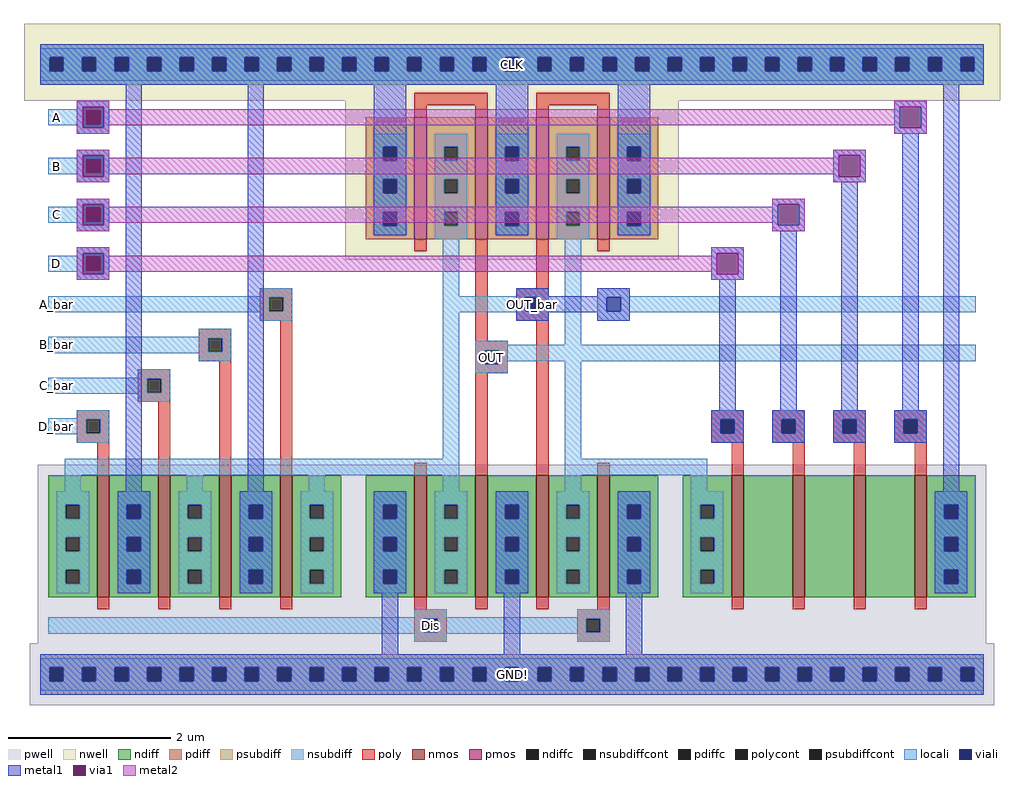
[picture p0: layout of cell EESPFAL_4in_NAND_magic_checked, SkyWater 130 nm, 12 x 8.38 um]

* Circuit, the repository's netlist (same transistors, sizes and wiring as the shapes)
* NGSPICE file created from EESPFAL_4in_NAND_magic_checked.ext - technology: sky130A

.subckt EESPFAL_4in_NAND_magic_checked OUT A A_bar B B_bar C C_bar D D_bar Dis OUT_bar
+ GND CLK
X0 OUT_bar Dis GND GND sky130_fd_pr__nfet_01v8 ad=3.6e+12p pd=1.68e+07u as=2.7e+12p ps=1.26e+07u w=1.5e+06u l=150000u
X1 CLK B_bar OUT_bar GND sky130_fd_pr__nfet_01v8 ad=8.5e+12p pd=3.68e+07u as=0p ps=0u w=1.5e+06u l=150000u
X2 a_n1040_180# B a_n1190_180# GND sky130_fd_pr__nfet_01v8 ad=9e+11p pd=4.2e+06u as=9e+11p ps=4.2e+06u w=1.5e+06u l=150000u
X3 OUT_bar OUT CLK CLK sky130_fd_pr__pfet_01v8 ad=9e+11p pd=4.2e+06u as=2.7e+12p ps=1.26e+07u w=1.5e+06u l=150000u M=2
X4 CLK D_bar OUT_bar GND sky130_fd_pr__nfet_01v8 ad=0p pd=0u as=0p ps=0u w=1.5e+06u l=150000u
X5 OUT OUT_bar GND GND sky130_fd_pr__nfet_01v8 ad=1.8e+12p pd=8.4e+06u as=0p ps=0u w=1.5e+06u l=150000u
X6 a_n1340_180# D OUT GND sky130_fd_pr__nfet_01v8 ad=9e+11p pd=4.2e+06u as=0p ps=0u w=1.5e+06u l=150000u
X7 OUT_bar A_bar CLK GND sky130_fd_pr__nfet_01v8 ad=0p pd=0u as=0p ps=0u w=1.5e+06u l=150000u
X8 OUT_bar C_bar CLK GND sky130_fd_pr__nfet_01v8 ad=0p pd=0u as=0p ps=0u w=1.5e+06u l=150000u
X9 GND Dis OUT GND sky130_fd_pr__nfet_01v8 ad=0p pd=0u as=0p ps=0u w=1.5e+06u l=150000u
X10 OUT OUT_bar CLK CLK sky130_fd_pr__pfet_01v8 ad=9e+11p pd=4.2e+06u as=0p ps=0u w=1.5e+06u l=150000u M=2
X11 GND OUT OUT_bar GND sky130_fd_pr__nfet_01v8 ad=0p pd=0u as=0p ps=0u w=1.5e+06u l=150000u
X12 CLK A a_n1040_180# GND sky130_fd_pr__nfet_01v8 ad=0p pd=0u as=0p ps=0u w=1.5e+06u l=150000u
X13 a_n1190_180# C a_n1340_180# GND sky130_fd_pr__nfet_01v8 ad=0p pd=0u as=0p ps=0u w=1.5e+06u l=150000u
.ends

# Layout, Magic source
magic
tech sky130A
magscale 1 2
<< nwell >>
rect -3110 1400 -710 1590
rect -2320 1010 -1500 1400
<< pwell >>
rect -3076 66 -744 506
rect -3096 -86 -724 66
<< nmos >>
rect -2930 180 -2900 480
rect -2780 180 -2750 480
rect -2630 180 -2600 480
rect -2480 180 -2450 480
rect -2150 180 -2120 480
rect -2000 180 -1970 480
rect -1850 180 -1820 480
rect -1700 180 -1670 480
rect -1370 180 -1340 480
rect -1220 180 -1190 480
rect -1070 180 -1040 480
rect -920 180 -890 480
<< pmos >>
rect -2150 1060 -2120 1360
rect -2000 1060 -1970 1360
rect -1850 1060 -1820 1360
rect -1700 1060 -1670 1360
<< ndiff >>
rect -3050 407 -2930 480
rect -3050 373 -3007 407
rect -2973 373 -2930 407
rect -3050 327 -2930 373
rect -3050 293 -3007 327
rect -2973 293 -2930 327
rect -3050 247 -2930 293
rect -3050 213 -3007 247
rect -2973 213 -2930 247
rect -3050 180 -2930 213
rect -2900 407 -2780 480
rect -2900 373 -2857 407
rect -2823 373 -2780 407
rect -2900 327 -2780 373
rect -2900 293 -2857 327
rect -2823 293 -2780 327
rect -2900 247 -2780 293
rect -2900 213 -2857 247
rect -2823 213 -2780 247
rect -2900 180 -2780 213
rect -2750 407 -2630 480
rect -2750 373 -2707 407
rect -2673 373 -2630 407
rect -2750 327 -2630 373
rect -2750 293 -2707 327
rect -2673 293 -2630 327
rect -2750 247 -2630 293
rect -2750 213 -2707 247
rect -2673 213 -2630 247
rect -2750 180 -2630 213
rect -2600 407 -2480 480
rect -2600 373 -2557 407
rect -2523 373 -2480 407
rect -2600 327 -2480 373
rect -2600 293 -2557 327
rect -2523 293 -2480 327
rect -2600 247 -2480 293
rect -2600 213 -2557 247
rect -2523 213 -2480 247
rect -2600 180 -2480 213
rect -2450 407 -2330 480
rect -2450 373 -2407 407
rect -2373 373 -2330 407
rect -2450 327 -2330 373
rect -2450 293 -2407 327
rect -2373 293 -2330 327
rect -2450 247 -2330 293
rect -2450 213 -2407 247
rect -2373 213 -2330 247
rect -2450 180 -2330 213
rect -2270 407 -2150 480
rect -2270 373 -2227 407
rect -2193 373 -2150 407
rect -2270 327 -2150 373
rect -2270 293 -2227 327
rect -2193 293 -2150 327
rect -2270 247 -2150 293
rect -2270 213 -2227 247
rect -2193 213 -2150 247
rect -2270 180 -2150 213
rect -2120 407 -2000 480
rect -2120 373 -2077 407
rect -2043 373 -2000 407
rect -2120 327 -2000 373
rect -2120 293 -2077 327
rect -2043 293 -2000 327
rect -2120 247 -2000 293
rect -2120 213 -2077 247
rect -2043 213 -2000 247
rect -2120 180 -2000 213
rect -1970 407 -1850 480
rect -1970 373 -1927 407
rect -1893 373 -1850 407
rect -1970 327 -1850 373
rect -1970 293 -1927 327
rect -1893 293 -1850 327
rect -1970 247 -1850 293
rect -1970 213 -1927 247
rect -1893 213 -1850 247
rect -1970 180 -1850 213
rect -1820 407 -1700 480
rect -1820 373 -1777 407
rect -1743 373 -1700 407
rect -1820 327 -1700 373
rect -1820 293 -1777 327
rect -1743 293 -1700 327
rect -1820 247 -1700 293
rect -1820 213 -1777 247
rect -1743 213 -1700 247
rect -1820 180 -1700 213
rect -1670 407 -1550 480
rect -1670 373 -1627 407
rect -1593 373 -1550 407
rect -1670 327 -1550 373
rect -1670 293 -1627 327
rect -1593 293 -1550 327
rect -1670 247 -1550 293
rect -1670 213 -1627 247
rect -1593 213 -1550 247
rect -1670 180 -1550 213
rect -1490 407 -1370 480
rect -1490 373 -1447 407
rect -1413 373 -1370 407
rect -1490 327 -1370 373
rect -1490 293 -1447 327
rect -1413 293 -1370 327
rect -1490 247 -1370 293
rect -1490 213 -1447 247
rect -1413 213 -1370 247
rect -1490 180 -1370 213
rect -1340 180 -1220 480
rect -1190 180 -1070 480
rect -1040 180 -920 480
rect -890 407 -770 480
rect -890 373 -847 407
rect -813 373 -770 407
rect -890 327 -770 373
rect -890 293 -847 327
rect -813 293 -770 327
rect -890 247 -770 293
rect -890 213 -847 247
rect -813 213 -770 247
rect -890 180 -770 213
<< pdiff >>
rect -2270 1287 -2150 1360
rect -2270 1253 -2227 1287
rect -2193 1253 -2150 1287
rect -2270 1207 -2150 1253
rect -2270 1173 -2227 1207
rect -2193 1173 -2150 1207
rect -2270 1127 -2150 1173
rect -2270 1093 -2227 1127
rect -2193 1093 -2150 1127
rect -2270 1060 -2150 1093
rect -2120 1287 -2000 1360
rect -2120 1253 -2077 1287
rect -2043 1253 -2000 1287
rect -2120 1207 -2000 1253
rect -2120 1173 -2077 1207
rect -2043 1173 -2000 1207
rect -2120 1127 -2000 1173
rect -2120 1093 -2077 1127
rect -2043 1093 -2000 1127
rect -2120 1060 -2000 1093
rect -1970 1287 -1850 1360
rect -1970 1253 -1927 1287
rect -1893 1253 -1850 1287
rect -1970 1207 -1850 1253
rect -1970 1173 -1927 1207
rect -1893 1173 -1850 1207
rect -1970 1127 -1850 1173
rect -1970 1093 -1927 1127
rect -1893 1093 -1850 1127
rect -1970 1060 -1850 1093
rect -1820 1287 -1700 1360
rect -1820 1253 -1777 1287
rect -1743 1253 -1700 1287
rect -1820 1207 -1700 1253
rect -1820 1173 -1777 1207
rect -1743 1173 -1700 1207
rect -1820 1127 -1700 1173
rect -1820 1093 -1777 1127
rect -1743 1093 -1700 1127
rect -1820 1060 -1700 1093
rect -1670 1287 -1550 1360
rect -1670 1253 -1627 1287
rect -1593 1253 -1550 1287
rect -1670 1207 -1550 1253
rect -1670 1173 -1627 1207
rect -1593 1173 -1550 1207
rect -1670 1127 -1550 1173
rect -1670 1093 -1627 1127
rect -1593 1093 -1550 1127
rect -1670 1060 -1550 1093
<< ndiffc >>
rect -3007 373 -2973 407
rect -3007 293 -2973 327
rect -3007 213 -2973 247
rect -2857 373 -2823 407
rect -2857 293 -2823 327
rect -2857 213 -2823 247
rect -2707 373 -2673 407
rect -2707 293 -2673 327
rect -2707 213 -2673 247
rect -2557 373 -2523 407
rect -2557 293 -2523 327
rect -2557 213 -2523 247
rect -2407 373 -2373 407
rect -2407 293 -2373 327
rect -2407 213 -2373 247
rect -2227 373 -2193 407
rect -2227 293 -2193 327
rect -2227 213 -2193 247
rect -2077 373 -2043 407
rect -2077 293 -2043 327
rect -2077 213 -2043 247
rect -1927 373 -1893 407
rect -1927 293 -1893 327
rect -1927 213 -1893 247
rect -1777 373 -1743 407
rect -1777 293 -1743 327
rect -1777 213 -1743 247
rect -1627 373 -1593 407
rect -1627 293 -1593 327
rect -1627 213 -1593 247
rect -1447 373 -1413 407
rect -1447 293 -1413 327
rect -1447 213 -1413 247
rect -847 373 -813 407
rect -847 293 -813 327
rect -847 213 -813 247
<< pdiffc >>
rect -2227 1253 -2193 1287
rect -2227 1173 -2193 1207
rect -2227 1093 -2193 1127
rect -2077 1253 -2043 1287
rect -2077 1173 -2043 1207
rect -2077 1093 -2043 1127
rect -1927 1253 -1893 1287
rect -1927 1173 -1893 1207
rect -1927 1093 -1893 1127
rect -1777 1253 -1743 1287
rect -1777 1173 -1743 1207
rect -1777 1093 -1743 1127
rect -1627 1253 -1593 1287
rect -1627 1173 -1593 1207
rect -1627 1093 -1593 1127
<< psubdiff >>
rect -3070 7 -750 40
rect -3070 -27 -3047 7
rect -3013 -27 -2967 7
rect -2933 -27 -2887 7
rect -2853 -27 -2807 7
rect -2773 -27 -2727 7
rect -2693 -27 -2647 7
rect -2613 -27 -2567 7
rect -2533 -27 -2487 7
rect -2453 -27 -2407 7
rect -2373 -27 -2327 7
rect -2293 -27 -2247 7
rect -2213 -27 -2167 7
rect -2133 -27 -2087 7
rect -2053 -27 -2007 7
rect -1973 -27 -1927 7
rect -1893 -27 -1847 7
rect -1813 -27 -1767 7
rect -1733 -27 -1687 7
rect -1653 -27 -1607 7
rect -1573 -27 -1527 7
rect -1493 -27 -1447 7
rect -1413 -27 -1367 7
rect -1333 -27 -1287 7
rect -1253 -27 -1207 7
rect -1173 -27 -1127 7
rect -1093 -27 -1047 7
rect -1013 -27 -967 7
rect -933 -27 -887 7
rect -853 -27 -807 7
rect -773 -27 -750 7
rect -3070 -60 -750 -27
<< nsubdiff >>
rect -3070 1507 -750 1540
rect -3070 1473 -3047 1507
rect -3013 1473 -2967 1507
rect -2933 1473 -2887 1507
rect -2853 1473 -2807 1507
rect -2773 1473 -2727 1507
rect -2693 1473 -2647 1507
rect -2613 1473 -2567 1507
rect -2533 1473 -2487 1507
rect -2453 1473 -2407 1507
rect -2373 1473 -2327 1507
rect -2293 1473 -2247 1507
rect -2213 1473 -2167 1507
rect -2133 1473 -2087 1507
rect -2053 1473 -2007 1507
rect -1973 1473 -1927 1507
rect -1893 1473 -1847 1507
rect -1813 1473 -1767 1507
rect -1733 1473 -1687 1507
rect -1653 1473 -1607 1507
rect -1573 1473 -1527 1507
rect -1493 1473 -1447 1507
rect -1413 1473 -1367 1507
rect -1333 1473 -1287 1507
rect -1253 1473 -1207 1507
rect -1173 1473 -1127 1507
rect -1093 1473 -1047 1507
rect -1013 1473 -967 1507
rect -933 1473 -887 1507
rect -853 1473 -807 1507
rect -773 1473 -750 1507
rect -3070 1440 -750 1473
<< psubdiffcont >>
rect -3047 -27 -3013 7
rect -2967 -27 -2933 7
rect -2887 -27 -2853 7
rect -2807 -27 -2773 7
rect -2727 -27 -2693 7
rect -2647 -27 -2613 7
rect -2567 -27 -2533 7
rect -2487 -27 -2453 7
rect -2407 -27 -2373 7
rect -2327 -27 -2293 7
rect -2247 -27 -2213 7
rect -2167 -27 -2133 7
rect -2087 -27 -2053 7
rect -2007 -27 -1973 7
rect -1927 -27 -1893 7
rect -1847 -27 -1813 7
rect -1767 -27 -1733 7
rect -1687 -27 -1653 7
rect -1607 -27 -1573 7
rect -1527 -27 -1493 7
rect -1447 -27 -1413 7
rect -1367 -27 -1333 7
rect -1287 -27 -1253 7
rect -1207 -27 -1173 7
rect -1127 -27 -1093 7
rect -1047 -27 -1013 7
rect -967 -27 -933 7
rect -887 -27 -853 7
rect -807 -27 -773 7
<< nsubdiffcont >>
rect -3047 1473 -3013 1507
rect -2967 1473 -2933 1507
rect -2887 1473 -2853 1507
rect -2807 1473 -2773 1507
rect -2727 1473 -2693 1507
rect -2647 1473 -2613 1507
rect -2567 1473 -2533 1507
rect -2487 1473 -2453 1507
rect -2407 1473 -2373 1507
rect -2327 1473 -2293 1507
rect -2247 1473 -2213 1507
rect -2167 1473 -2133 1507
rect -2087 1473 -2053 1507
rect -2007 1473 -1973 1507
rect -1927 1473 -1893 1507
rect -1847 1473 -1813 1507
rect -1767 1473 -1733 1507
rect -1687 1473 -1653 1507
rect -1607 1473 -1573 1507
rect -1527 1473 -1493 1507
rect -1447 1473 -1413 1507
rect -1367 1473 -1333 1507
rect -1287 1473 -1253 1507
rect -1207 1473 -1173 1507
rect -1127 1473 -1093 1507
rect -1047 1473 -1013 1507
rect -967 1473 -933 1507
rect -887 1473 -853 1507
rect -807 1473 -773 1507
<< poly >>
rect -2150 1390 -1970 1420
rect -2150 1360 -2120 1390
rect -2000 1360 -1970 1390
rect -1850 1390 -1670 1420
rect -1850 1360 -1820 1390
rect -1700 1360 -1670 1390
rect -2150 1030 -2120 1060
rect -2530 917 -2450 940
rect -2530 883 -2507 917
rect -2473 883 -2450 917
rect -2530 860 -2450 883
rect -2680 817 -2600 840
rect -2680 783 -2657 817
rect -2623 783 -2600 817
rect -2680 760 -2600 783
rect -2830 717 -2750 740
rect -2830 683 -2807 717
rect -2773 683 -2750 717
rect -2830 660 -2750 683
rect -2980 617 -2900 640
rect -2980 583 -2957 617
rect -2923 583 -2900 617
rect -2980 560 -2900 583
rect -2930 480 -2900 560
rect -2780 480 -2750 660
rect -2630 480 -2600 760
rect -2480 480 -2450 860
rect -2000 810 -1970 1060
rect -1850 940 -1820 1060
rect -1700 1030 -1670 1060
rect -1900 917 -1820 940
rect -1900 883 -1877 917
rect -1843 883 -1820 917
rect -1900 860 -1820 883
rect -2000 787 -1920 810
rect -2000 753 -1977 787
rect -1943 753 -1920 787
rect -2000 730 -1920 753
rect -2150 480 -2120 510
rect -2000 480 -1970 730
rect -1850 480 -1820 860
rect -1420 617 -1340 640
rect -1420 583 -1397 617
rect -1363 583 -1340 617
rect -1420 560 -1340 583
rect -1270 617 -1190 640
rect -1270 583 -1247 617
rect -1213 583 -1190 617
rect -1270 560 -1190 583
rect -1120 617 -1040 640
rect -1120 583 -1097 617
rect -1063 583 -1040 617
rect -1120 560 -1040 583
rect -970 617 -890 640
rect -970 583 -947 617
rect -913 583 -890 617
rect -970 560 -890 583
rect -1700 480 -1670 510
rect -1370 480 -1340 560
rect -1220 480 -1190 560
rect -1070 480 -1040 560
rect -920 480 -890 560
rect -2930 150 -2900 180
rect -2780 150 -2750 180
rect -2630 150 -2600 180
rect -2480 150 -2450 180
rect -2150 150 -2120 180
rect -2000 150 -1970 180
rect -1850 150 -1820 180
rect -1700 150 -1670 180
rect -1370 150 -1340 180
rect -1220 150 -1190 180
rect -1070 150 -1040 180
rect -920 150 -890 180
rect -2150 127 -2070 150
rect -2150 93 -2127 127
rect -2093 93 -2070 127
rect -2150 70 -2070 93
rect -1750 127 -1670 150
rect -1750 93 -1727 127
rect -1693 93 -1670 127
rect -1750 70 -1670 93
<< polycont >>
rect -2507 883 -2473 917
rect -2657 783 -2623 817
rect -2807 683 -2773 717
rect -2957 583 -2923 617
rect -1877 883 -1843 917
rect -1977 753 -1943 787
rect -1397 583 -1363 617
rect -1247 583 -1213 617
rect -1097 583 -1063 617
rect -947 583 -913 617
rect -2127 93 -2093 127
rect -1727 93 -1693 127
<< locali >>
rect -3070 1507 -750 1530
rect -3070 1473 -3047 1507
rect -3013 1473 -2967 1507
rect -2933 1473 -2887 1507
rect -2853 1473 -2807 1507
rect -2773 1473 -2727 1507
rect -2693 1473 -2647 1507
rect -2613 1473 -2567 1507
rect -2533 1473 -2487 1507
rect -2453 1473 -2407 1507
rect -2373 1473 -2327 1507
rect -2293 1473 -2247 1507
rect -2213 1473 -2167 1507
rect -2133 1473 -2087 1507
rect -2053 1473 -2007 1507
rect -1973 1473 -1927 1507
rect -1893 1473 -1847 1507
rect -1813 1473 -1767 1507
rect -1733 1473 -1687 1507
rect -1653 1473 -1607 1507
rect -1573 1473 -1527 1507
rect -1493 1473 -1447 1507
rect -1413 1473 -1367 1507
rect -1333 1473 -1287 1507
rect -1253 1473 -1207 1507
rect -1173 1473 -1127 1507
rect -1093 1473 -1047 1507
rect -1013 1473 -967 1507
rect -933 1473 -887 1507
rect -853 1473 -807 1507
rect -773 1473 -750 1507
rect -3070 1450 -750 1473
rect -2980 1380 -2900 1400
rect -3050 1377 -2900 1380
rect -3050 1343 -2957 1377
rect -2923 1343 -2900 1377
rect -3050 1340 -2900 1343
rect -2980 1320 -2900 1340
rect -2250 1287 -2170 1320
rect -2980 1260 -2900 1280
rect -3050 1257 -2900 1260
rect -3050 1223 -2957 1257
rect -2923 1223 -2900 1257
rect -3050 1220 -2900 1223
rect -2980 1200 -2900 1220
rect -2250 1253 -2227 1287
rect -2193 1253 -2170 1287
rect -2250 1207 -2170 1253
rect -2250 1173 -2227 1207
rect -2193 1173 -2170 1207
rect -2980 1140 -2900 1160
rect -3050 1137 -2900 1140
rect -3050 1103 -2957 1137
rect -2923 1103 -2900 1137
rect -3050 1100 -2900 1103
rect -2980 1080 -2900 1100
rect -2250 1127 -2170 1173
rect -2250 1093 -2227 1127
rect -2193 1093 -2170 1127
rect -2250 1070 -2170 1093
rect -2100 1287 -2020 1320
rect -2100 1253 -2077 1287
rect -2043 1253 -2020 1287
rect -2100 1207 -2020 1253
rect -2100 1173 -2077 1207
rect -2043 1173 -2020 1207
rect -2100 1127 -2020 1173
rect -2100 1093 -2077 1127
rect -2043 1093 -2020 1127
rect -2100 1060 -2020 1093
rect -1950 1287 -1870 1320
rect -1950 1253 -1927 1287
rect -1893 1253 -1870 1287
rect -1950 1207 -1870 1253
rect -1950 1173 -1927 1207
rect -1893 1173 -1870 1207
rect -1950 1127 -1870 1173
rect -1950 1093 -1927 1127
rect -1893 1093 -1870 1127
rect -1950 1070 -1870 1093
rect -1800 1287 -1720 1320
rect -1800 1253 -1777 1287
rect -1743 1253 -1720 1287
rect -1800 1207 -1720 1253
rect -1800 1173 -1777 1207
rect -1743 1173 -1720 1207
rect -1800 1127 -1720 1173
rect -1800 1093 -1777 1127
rect -1743 1093 -1720 1127
rect -1800 1060 -1720 1093
rect -1650 1287 -1570 1320
rect -1650 1253 -1627 1287
rect -1593 1253 -1570 1287
rect -1650 1207 -1570 1253
rect -1650 1173 -1627 1207
rect -1593 1173 -1570 1207
rect -1650 1127 -1570 1173
rect -1650 1093 -1627 1127
rect -1593 1093 -1570 1127
rect -1650 1070 -1570 1093
rect -2980 1020 -2900 1040
rect -3050 1017 -2900 1020
rect -3050 983 -2957 1017
rect -2923 983 -2900 1017
rect -3050 980 -2900 983
rect -2980 960 -2900 980
rect -2530 920 -2450 940
rect -3050 917 -2450 920
rect -3050 883 -2507 917
rect -2473 883 -2450 917
rect -3050 880 -2450 883
rect -2530 860 -2450 880
rect -2080 920 -2040 1060
rect -1900 920 -1820 940
rect -2080 917 -1820 920
rect -2080 883 -1877 917
rect -1843 883 -1820 917
rect -2080 880 -1820 883
rect -2680 820 -2600 840
rect -3050 817 -2600 820
rect -3050 783 -2657 817
rect -2623 783 -2600 817
rect -3050 780 -2600 783
rect -2680 760 -2600 780
rect -2830 720 -2750 740
rect -3050 717 -2750 720
rect -3050 683 -2807 717
rect -2773 683 -2750 717
rect -3050 680 -2750 683
rect -2830 660 -2750 680
rect -2980 620 -2900 640
rect -3050 617 -2900 620
rect -3050 583 -2957 617
rect -2923 583 -2900 617
rect -3050 580 -2900 583
rect -2980 560 -2900 580
rect -2080 520 -2040 880
rect -1900 860 -1820 880
rect -2000 800 -1920 810
rect -1780 800 -1740 1060
rect -1700 920 -1620 940
rect -1700 917 -770 920
rect -1700 883 -1677 917
rect -1643 883 -770 917
rect -1700 880 -770 883
rect -1700 860 -1620 880
rect -2000 787 -770 800
rect -2000 753 -1977 787
rect -1943 760 -770 787
rect -1943 753 -1920 760
rect -2000 730 -1920 753
rect -3010 480 -2040 520
rect -3010 440 -2970 480
rect -2710 440 -2670 480
rect -2410 440 -2370 480
rect -2080 440 -2040 480
rect -1780 520 -1740 760
rect -1420 617 -1340 640
rect -1420 583 -1397 617
rect -1363 583 -1340 617
rect -1420 560 -1340 583
rect -1270 617 -1190 640
rect -1270 583 -1247 617
rect -1213 583 -1190 617
rect -1270 560 -1190 583
rect -1120 617 -1040 640
rect -1120 583 -1097 617
rect -1063 583 -1040 617
rect -1120 560 -1040 583
rect -970 617 -890 640
rect -970 583 -947 617
rect -913 583 -890 617
rect -970 560 -890 583
rect -1780 480 -1430 520
rect -1780 440 -1740 480
rect -1470 440 -1430 480
rect -3030 407 -2950 440
rect -3030 373 -3007 407
rect -2973 373 -2950 407
rect -3030 327 -2950 373
rect -3030 293 -3007 327
rect -2973 293 -2950 327
rect -3030 247 -2950 293
rect -3030 213 -3007 247
rect -2973 213 -2950 247
rect -3030 190 -2950 213
rect -2880 407 -2800 440
rect -2880 373 -2857 407
rect -2823 373 -2800 407
rect -2880 327 -2800 373
rect -2880 293 -2857 327
rect -2823 293 -2800 327
rect -2880 247 -2800 293
rect -2880 213 -2857 247
rect -2823 213 -2800 247
rect -2880 190 -2800 213
rect -2730 407 -2650 440
rect -2730 373 -2707 407
rect -2673 373 -2650 407
rect -2730 327 -2650 373
rect -2730 293 -2707 327
rect -2673 293 -2650 327
rect -2730 247 -2650 293
rect -2730 213 -2707 247
rect -2673 213 -2650 247
rect -2730 190 -2650 213
rect -2580 407 -2500 440
rect -2580 373 -2557 407
rect -2523 373 -2500 407
rect -2580 327 -2500 373
rect -2580 293 -2557 327
rect -2523 293 -2500 327
rect -2580 247 -2500 293
rect -2580 213 -2557 247
rect -2523 213 -2500 247
rect -2580 190 -2500 213
rect -2430 407 -2350 440
rect -2430 373 -2407 407
rect -2373 373 -2350 407
rect -2430 327 -2350 373
rect -2430 293 -2407 327
rect -2373 293 -2350 327
rect -2430 247 -2350 293
rect -2430 213 -2407 247
rect -2373 213 -2350 247
rect -2430 190 -2350 213
rect -2250 407 -2170 440
rect -2250 373 -2227 407
rect -2193 373 -2170 407
rect -2250 327 -2170 373
rect -2250 293 -2227 327
rect -2193 293 -2170 327
rect -2250 247 -2170 293
rect -2250 213 -2227 247
rect -2193 213 -2170 247
rect -2250 190 -2170 213
rect -2100 407 -2020 440
rect -2100 373 -2077 407
rect -2043 373 -2020 407
rect -2100 327 -2020 373
rect -2100 293 -2077 327
rect -2043 293 -2020 327
rect -2100 247 -2020 293
rect -2100 213 -2077 247
rect -2043 213 -2020 247
rect -2100 190 -2020 213
rect -1950 407 -1870 440
rect -1950 373 -1927 407
rect -1893 373 -1870 407
rect -1950 327 -1870 373
rect -1950 293 -1927 327
rect -1893 293 -1870 327
rect -1950 247 -1870 293
rect -1950 213 -1927 247
rect -1893 213 -1870 247
rect -1950 190 -1870 213
rect -1800 407 -1720 440
rect -1800 373 -1777 407
rect -1743 373 -1720 407
rect -1800 327 -1720 373
rect -1800 293 -1777 327
rect -1743 293 -1720 327
rect -1800 247 -1720 293
rect -1800 213 -1777 247
rect -1743 213 -1720 247
rect -1800 190 -1720 213
rect -1650 407 -1570 440
rect -1650 373 -1627 407
rect -1593 373 -1570 407
rect -1650 327 -1570 373
rect -1650 293 -1627 327
rect -1593 293 -1570 327
rect -1650 247 -1570 293
rect -1650 213 -1627 247
rect -1593 213 -1570 247
rect -1650 190 -1570 213
rect -1470 407 -1390 440
rect -1470 373 -1447 407
rect -1413 373 -1390 407
rect -1470 327 -1390 373
rect -1470 293 -1447 327
rect -1413 293 -1390 327
rect -1470 247 -1390 293
rect -1470 213 -1447 247
rect -1413 213 -1390 247
rect -1470 190 -1390 213
rect -870 407 -790 440
rect -870 373 -847 407
rect -813 373 -790 407
rect -870 327 -790 373
rect -870 293 -847 327
rect -813 293 -790 327
rect -870 247 -790 293
rect -870 213 -847 247
rect -813 213 -790 247
rect -870 190 -790 213
rect -2150 130 -2070 150
rect -1750 130 -1670 150
rect -3050 127 -1670 130
rect -3050 93 -2127 127
rect -2093 93 -1727 127
rect -1693 93 -1670 127
rect -3050 90 -1670 93
rect -2150 70 -2070 90
rect -1750 70 -1670 90
rect -3070 7 -750 30
rect -3070 -27 -3047 7
rect -3013 -27 -2967 7
rect -2933 -27 -2887 7
rect -2853 -27 -2807 7
rect -2773 -27 -2727 7
rect -2693 -27 -2647 7
rect -2613 -27 -2567 7
rect -2533 -27 -2487 7
rect -2453 -27 -2407 7
rect -2373 -27 -2327 7
rect -2293 -27 -2247 7
rect -2213 -27 -2167 7
rect -2133 -27 -2087 7
rect -2053 -27 -2007 7
rect -1973 -27 -1927 7
rect -1893 -27 -1847 7
rect -1813 -27 -1767 7
rect -1733 -27 -1687 7
rect -1653 -27 -1607 7
rect -1573 -27 -1527 7
rect -1493 -27 -1447 7
rect -1413 -27 -1367 7
rect -1333 -27 -1287 7
rect -1253 -27 -1207 7
rect -1173 -27 -1127 7
rect -1093 -27 -1047 7
rect -1013 -27 -967 7
rect -933 -27 -887 7
rect -853 -27 -807 7
rect -773 -27 -750 7
rect -3070 -50 -750 -27
<< viali >>
rect -3047 1473 -3013 1507
rect -2967 1473 -2933 1507
rect -2887 1473 -2853 1507
rect -2807 1473 -2773 1507
rect -2727 1473 -2693 1507
rect -2647 1473 -2613 1507
rect -2567 1473 -2533 1507
rect -2487 1473 -2453 1507
rect -2407 1473 -2373 1507
rect -2327 1473 -2293 1507
rect -2247 1473 -2213 1507
rect -2167 1473 -2133 1507
rect -2087 1473 -2053 1507
rect -2007 1473 -1973 1507
rect -1927 1473 -1893 1507
rect -1847 1473 -1813 1507
rect -1767 1473 -1733 1507
rect -1687 1473 -1653 1507
rect -1607 1473 -1573 1507
rect -1527 1473 -1493 1507
rect -1447 1473 -1413 1507
rect -1367 1473 -1333 1507
rect -1287 1473 -1253 1507
rect -1207 1473 -1173 1507
rect -1127 1473 -1093 1507
rect -1047 1473 -1013 1507
rect -967 1473 -933 1507
rect -887 1473 -853 1507
rect -807 1473 -773 1507
rect -2957 1343 -2923 1377
rect -2957 1223 -2923 1257
rect -2227 1253 -2193 1287
rect -2227 1173 -2193 1207
rect -2957 1103 -2923 1137
rect -2227 1093 -2193 1127
rect -1927 1253 -1893 1287
rect -1927 1173 -1893 1207
rect -1927 1093 -1893 1127
rect -1627 1253 -1593 1287
rect -1627 1173 -1593 1207
rect -1627 1093 -1593 1127
rect -2957 983 -2923 1017
rect -1877 883 -1843 917
rect -1677 883 -1643 917
rect -1397 583 -1363 617
rect -1247 583 -1213 617
rect -1097 583 -1063 617
rect -947 583 -913 617
rect -2857 373 -2823 407
rect -2857 293 -2823 327
rect -2857 213 -2823 247
rect -2557 373 -2523 407
rect -2557 293 -2523 327
rect -2557 213 -2523 247
rect -2227 373 -2193 407
rect -2227 293 -2193 327
rect -2227 213 -2193 247
rect -1927 373 -1893 407
rect -1927 293 -1893 327
rect -1927 213 -1893 247
rect -1627 373 -1593 407
rect -1627 293 -1593 327
rect -1627 213 -1593 247
rect -847 373 -813 407
rect -847 293 -813 327
rect -847 213 -813 247
rect -3047 -27 -3013 7
rect -2967 -27 -2933 7
rect -2887 -27 -2853 7
rect -2807 -27 -2773 7
rect -2727 -27 -2693 7
rect -2647 -27 -2613 7
rect -2567 -27 -2533 7
rect -2487 -27 -2453 7
rect -2407 -27 -2373 7
rect -2327 -27 -2293 7
rect -2247 -27 -2213 7
rect -2167 -27 -2133 7
rect -2087 -27 -2053 7
rect -2007 -27 -1973 7
rect -1927 -27 -1893 7
rect -1847 -27 -1813 7
rect -1767 -27 -1733 7
rect -1687 -27 -1653 7
rect -1607 -27 -1573 7
rect -1527 -27 -1493 7
rect -1447 -27 -1413 7
rect -1367 -27 -1333 7
rect -1287 -27 -1253 7
rect -1207 -27 -1173 7
rect -1127 -27 -1093 7
rect -1047 -27 -1013 7
rect -967 -27 -933 7
rect -887 -27 -853 7
rect -807 -27 -773 7
<< metal1 >>
rect -3070 1507 -750 1540
rect -3070 1473 -3047 1507
rect -3013 1473 -2967 1507
rect -2933 1473 -2887 1507
rect -2853 1473 -2807 1507
rect -2773 1473 -2727 1507
rect -2693 1473 -2647 1507
rect -2613 1473 -2567 1507
rect -2533 1473 -2487 1507
rect -2453 1473 -2407 1507
rect -2373 1473 -2327 1507
rect -2293 1473 -2247 1507
rect -2213 1473 -2167 1507
rect -2133 1473 -2087 1507
rect -2053 1473 -2007 1507
rect -1973 1473 -1927 1507
rect -1893 1473 -1847 1507
rect -1813 1473 -1767 1507
rect -1733 1473 -1687 1507
rect -1653 1473 -1607 1507
rect -1573 1473 -1527 1507
rect -1493 1473 -1447 1507
rect -1413 1473 -1367 1507
rect -1333 1473 -1287 1507
rect -1253 1473 -1207 1507
rect -1173 1473 -1127 1507
rect -1093 1473 -1047 1507
rect -1013 1473 -967 1507
rect -933 1473 -887 1507
rect -853 1473 -807 1507
rect -773 1473 -750 1507
rect -3070 1440 -750 1473
rect -2980 1386 -2900 1400
rect -2980 1334 -2966 1386
rect -2914 1334 -2900 1386
rect -2980 1320 -2900 1334
rect -2980 1266 -2900 1280
rect -2980 1214 -2966 1266
rect -2914 1214 -2900 1266
rect -2980 1200 -2900 1214
rect -2980 1146 -2900 1160
rect -2980 1094 -2966 1146
rect -2914 1094 -2900 1146
rect -2980 1080 -2900 1094
rect -2980 1026 -2900 1040
rect -2980 974 -2966 1026
rect -2914 974 -2900 1026
rect -2980 960 -2900 974
rect -2860 440 -2820 1440
rect -2560 440 -2520 1440
rect -2250 1287 -2170 1440
rect -2250 1253 -2227 1287
rect -2193 1253 -2170 1287
rect -2250 1207 -2170 1253
rect -2250 1173 -2227 1207
rect -2193 1173 -2170 1207
rect -2250 1127 -2170 1173
rect -2250 1093 -2227 1127
rect -2193 1093 -2170 1127
rect -2250 1070 -2170 1093
rect -1950 1287 -1870 1440
rect -1950 1253 -1927 1287
rect -1893 1253 -1870 1287
rect -1950 1207 -1870 1253
rect -1950 1173 -1927 1207
rect -1893 1173 -1870 1207
rect -1950 1127 -1870 1173
rect -1950 1093 -1927 1127
rect -1893 1093 -1870 1127
rect -1950 1070 -1870 1093
rect -1650 1287 -1570 1440
rect -970 1386 -890 1400
rect -970 1334 -956 1386
rect -904 1334 -890 1386
rect -970 1320 -890 1334
rect -1650 1253 -1627 1287
rect -1593 1253 -1570 1287
rect -1650 1207 -1570 1253
rect -1650 1173 -1627 1207
rect -1593 1173 -1570 1207
rect -1120 1266 -1040 1280
rect -1120 1214 -1106 1266
rect -1054 1214 -1040 1266
rect -1120 1200 -1040 1214
rect -1650 1127 -1570 1173
rect -1650 1093 -1627 1127
rect -1593 1093 -1570 1127
rect -1650 1070 -1570 1093
rect -1270 1146 -1190 1160
rect -1270 1094 -1256 1146
rect -1204 1094 -1190 1146
rect -1270 1080 -1190 1094
rect -1420 1026 -1340 1040
rect -1420 974 -1406 1026
rect -1354 974 -1340 1026
rect -1420 960 -1340 974
rect -1900 920 -1820 940
rect -1700 920 -1620 940
rect -1900 917 -1620 920
rect -1900 883 -1877 917
rect -1843 883 -1677 917
rect -1643 883 -1620 917
rect -1900 880 -1620 883
rect -1900 860 -1820 880
rect -1700 860 -1620 880
rect -1400 640 -1360 960
rect -1250 640 -1210 1080
rect -1100 640 -1060 1200
rect -950 640 -910 1320
rect -1420 617 -1340 640
rect -1420 583 -1397 617
rect -1363 583 -1340 617
rect -1420 560 -1340 583
rect -1270 617 -1190 640
rect -1270 583 -1247 617
rect -1213 583 -1190 617
rect -1270 560 -1190 583
rect -1120 617 -1040 640
rect -1120 583 -1097 617
rect -1063 583 -1040 617
rect -1120 560 -1040 583
rect -970 617 -890 640
rect -970 583 -947 617
rect -913 583 -890 617
rect -970 560 -890 583
rect -850 440 -810 1440
rect -2880 407 -2800 440
rect -2880 373 -2857 407
rect -2823 373 -2800 407
rect -2880 327 -2800 373
rect -2880 293 -2857 327
rect -2823 293 -2800 327
rect -2880 247 -2800 293
rect -2880 213 -2857 247
rect -2823 213 -2800 247
rect -2880 190 -2800 213
rect -2580 407 -2500 440
rect -2580 373 -2557 407
rect -2523 373 -2500 407
rect -2580 327 -2500 373
rect -2580 293 -2557 327
rect -2523 293 -2500 327
rect -2580 247 -2500 293
rect -2580 213 -2557 247
rect -2523 213 -2500 247
rect -2580 190 -2500 213
rect -2250 407 -2170 440
rect -2250 373 -2227 407
rect -2193 373 -2170 407
rect -2250 327 -2170 373
rect -2250 293 -2227 327
rect -2193 293 -2170 327
rect -2250 247 -2170 293
rect -2250 213 -2227 247
rect -2193 213 -2170 247
rect -2250 190 -2170 213
rect -1950 407 -1870 440
rect -1950 373 -1927 407
rect -1893 373 -1870 407
rect -1950 327 -1870 373
rect -1950 293 -1927 327
rect -1893 293 -1870 327
rect -1950 247 -1870 293
rect -1950 213 -1927 247
rect -1893 213 -1870 247
rect -1950 190 -1870 213
rect -1650 407 -1570 440
rect -1650 373 -1627 407
rect -1593 373 -1570 407
rect -1650 327 -1570 373
rect -1650 293 -1627 327
rect -1593 293 -1570 327
rect -1650 247 -1570 293
rect -1650 213 -1627 247
rect -1593 213 -1570 247
rect -1650 190 -1570 213
rect -870 407 -790 440
rect -870 373 -847 407
rect -813 373 -790 407
rect -870 327 -790 373
rect -870 293 -847 327
rect -813 293 -790 327
rect -870 247 -790 293
rect -870 213 -847 247
rect -813 213 -790 247
rect -870 190 -790 213
rect -2230 40 -2190 190
rect -1930 40 -1890 190
rect -1630 40 -1590 190
rect -3070 7 -750 40
rect -3070 -27 -3047 7
rect -3013 -27 -2967 7
rect -2933 -27 -2887 7
rect -2853 -27 -2807 7
rect -2773 -27 -2727 7
rect -2693 -27 -2647 7
rect -2613 -27 -2567 7
rect -2533 -27 -2487 7
rect -2453 -27 -2407 7
rect -2373 -27 -2327 7
rect -2293 -27 -2247 7
rect -2213 -27 -2167 7
rect -2133 -27 -2087 7
rect -2053 -27 -2007 7
rect -1973 -27 -1927 7
rect -1893 -27 -1847 7
rect -1813 -27 -1767 7
rect -1733 -27 -1687 7
rect -1653 -27 -1607 7
rect -1573 -27 -1527 7
rect -1493 -27 -1447 7
rect -1413 -27 -1367 7
rect -1333 -27 -1287 7
rect -1253 -27 -1207 7
rect -1173 -27 -1127 7
rect -1093 -27 -1047 7
rect -1013 -27 -967 7
rect -933 -27 -887 7
rect -853 -27 -807 7
rect -773 -27 -750 7
rect -3070 -60 -750 -27
<< via1 >>
rect -2966 1377 -2914 1386
rect -2966 1343 -2957 1377
rect -2957 1343 -2923 1377
rect -2923 1343 -2914 1377
rect -2966 1334 -2914 1343
rect -2966 1257 -2914 1266
rect -2966 1223 -2957 1257
rect -2957 1223 -2923 1257
rect -2923 1223 -2914 1257
rect -2966 1214 -2914 1223
rect -2966 1137 -2914 1146
rect -2966 1103 -2957 1137
rect -2957 1103 -2923 1137
rect -2923 1103 -2914 1137
rect -2966 1094 -2914 1103
rect -2966 1017 -2914 1026
rect -2966 983 -2957 1017
rect -2957 983 -2923 1017
rect -2923 983 -2914 1017
rect -2966 974 -2914 983
rect -956 1334 -904 1386
rect -1106 1214 -1054 1266
rect -1256 1094 -1204 1146
rect -1406 974 -1354 1026
<< metal2 >>
rect -2980 1386 -2900 1400
rect -2980 1334 -2966 1386
rect -2914 1380 -2900 1386
rect -970 1386 -890 1400
rect -970 1380 -956 1386
rect -2914 1340 -956 1380
rect -2914 1334 -2900 1340
rect -2980 1320 -2900 1334
rect -970 1334 -956 1340
rect -904 1334 -890 1386
rect -970 1320 -890 1334
rect -2980 1266 -2900 1280
rect -2980 1214 -2966 1266
rect -2914 1260 -2900 1266
rect -1120 1266 -1040 1280
rect -1120 1260 -1106 1266
rect -2914 1220 -1106 1260
rect -2914 1214 -2900 1220
rect -2980 1200 -2900 1214
rect -1120 1214 -1106 1220
rect -1054 1214 -1040 1266
rect -1120 1200 -1040 1214
rect -2980 1146 -2900 1160
rect -2980 1094 -2966 1146
rect -2914 1140 -2900 1146
rect -1270 1146 -1190 1160
rect -1270 1140 -1256 1146
rect -2914 1100 -1256 1140
rect -2914 1094 -2900 1100
rect -2980 1080 -2900 1094
rect -1270 1094 -1256 1100
rect -1204 1094 -1190 1146
rect -1270 1080 -1190 1094
rect -2980 1026 -2900 1040
rect -2980 974 -2966 1026
rect -2914 1020 -2900 1026
rect -1420 1026 -1340 1040
rect -1420 1020 -1406 1026
rect -2914 980 -1406 1020
rect -2914 974 -2900 980
rect -2980 960 -2900 974
rect -1420 974 -1406 980
rect -1354 974 -1340 1026
rect -1420 960 -1340 974
<< labels >>
rlabel locali s -1980 750 -1940 790 4 OUT
port 1 nsew
rlabel locali s -3040 1350 -3020 1370 4 A
port 2 nsew
rlabel locali s -3040 890 -3020 910 4 A_bar
port 3 nsew
rlabel locali s -3040 1230 -3020 1250 4 B
port 4 nsew
rlabel locali s -3040 790 -3020 810 4 B_bar
port 5 nsew
rlabel locali s -3040 1110 -3020 1130 4 C
port 6 nsew
rlabel locali s -3040 690 -3020 710 4 C_bar
port 7 nsew
rlabel locali s -3040 990 -3020 1010 4 D
port 8 nsew
rlabel locali s -3040 590 -3020 610 4 D_bar
port 9 nsew
rlabel locali s -2130 90 -2090 130 4 Dis
port 10 nsew
rlabel metal1 s -1880 880 -1840 920 4 OUT_bar
port 11 nsew
rlabel metal1 s -1930 -30 -1890 10 4 GND!
port 12 nsew
rlabel metal1 s -1930 1470 -1890 1510 4 CLK
port 13 nsew
<< properties >>
string path -8.800 2.200 -8.800 2.400 
<< end >>
